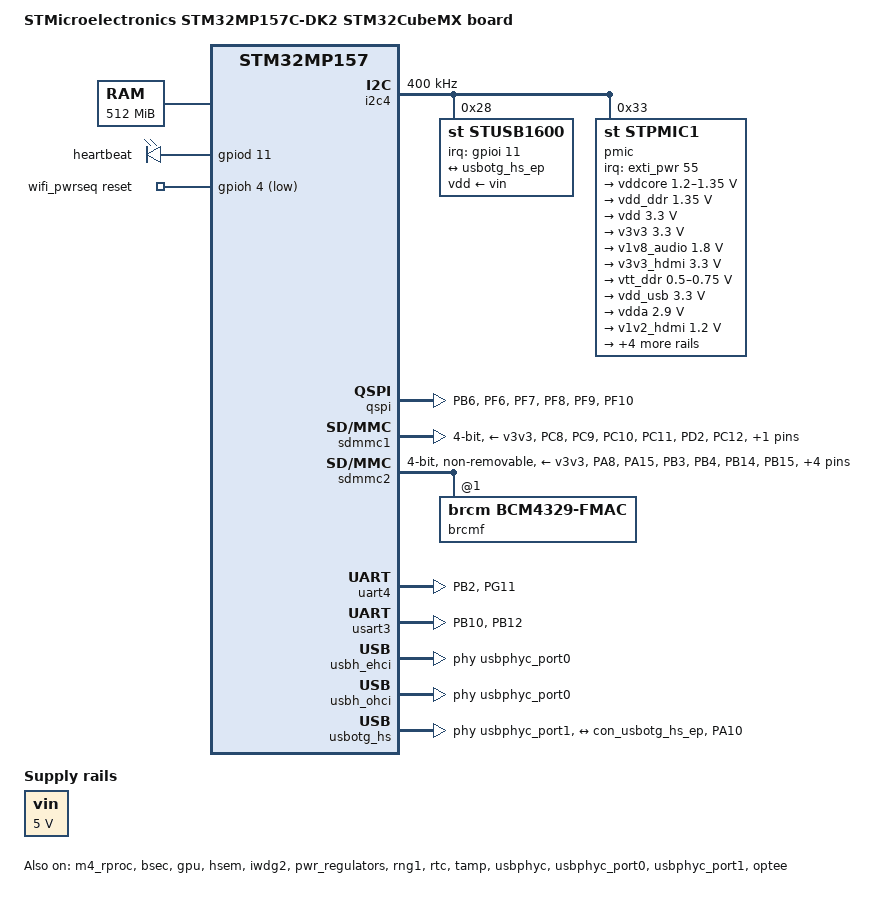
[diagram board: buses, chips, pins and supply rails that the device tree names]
/* SPDX-License-Identifier: (GPL-2.0+ OR BSD-3-Clause) */
/*
 * Copyright (C) STMicroelectronics 2020 - All Rights Reserved
 * Author: STM32CubeMX code generation for STMicroelectronics.
 */

/* For more information on Device Tree configuration, please refer to
 * https://wiki.st.com/stm32mpu/wiki/Category:Device_tree_configuration
 */

/dts-v1/;
#include <dt-bindings/pinctrl/stm32-pinfunc.h>

#include "stm32mp157.dtsi"
#include "stm32mp15xc.dtsi"
#include "stm32mp15xxac-pinctrl.dtsi"
#include "stm32mp157-m4-srm.dtsi"

/* USER CODE BEGIN includes */
#include <dt-bindings/mfd/st,stpmic1.h>
#include <dt-bindings/rtc/rtc-stm32.h>
/* USER CODE END includes */

/ {
	model = "STMicroelectronics STM32MP157C-DK2 STM32CubeMX board";
	compatible = "st,stm32mp157c-osd32mp1-fixedusb-mx", "st,stm32mp157";

	memory@c0000000 {
		device_type = "memory";
		reg = <0xc0000000 0x20000000>;

		/* USER CODE BEGIN memory */
		/* USER CODE END memory */
	};

	reserved-memory {
		#address-cells = <1>;
		#size-cells = <1>;
		ranges;

		/* USER CODE BEGIN reserved-memory */

		mcuram2:mcuram2@10000000{
			compatible = "shared-dma-pool";
			reg = <0x10000000 0x40000>;
			no-map;
		};

		vdev0vring0:vdev0vring0@10040000{
			compatible = "shared-dma-pool";
			reg = <0x10040000 0x1000>;
			no-map;
		};

		vdev0vring1:vdev0vring1@10041000{
			compatible = "shared-dma-pool";
			reg = <0x10041000 0x1000>;
			no-map;
		};

		vdev0buffer:vdev0buffer@10042000{
			compatible = "shared-dma-pool";
			reg = <0x10042000 0x4000>;
			no-map;
		};

		mcuram:mcuram@30000000{
			compatible = "shared-dma-pool";
			reg = <0x30000000 0x40000>;
			no-map;
		};

		retram:retram@38000000{
			compatible = "shared-dma-pool";
			reg = <0x38000000 0x10000>;
			no-map;
		};

		gpu_reserved:gpu@da000000{
			reg = <0xda000000 0x4000000>;
			no-map;
		};

		optee_memory:optee@0xde000000{
			reg = <0xde000000 0x02000000>;
			no-map;
			status = "okay";
		};
		/* USER CODE END reserved-memory */
	};

	/* USER CODE BEGIN root */

	led{
		compatible = "gpio-leds";

		blue{
			label = "heartbeat";
			gpios = <&gpiod 11 GPIO_ACTIVE_HIGH>;
			linux,default-trigger = "heartbeat";
			default-state = "off";
		};
	};

	sound{
		compatible = "audio-graph-card";
		label = "STM32MP1-DK";
		routing = "Playback", "MCLK",
				"Capture", "MCLK",
				"MICL", "Mic Bias";
		dais = <&sai2a_port &sai2b_port &i2s2_port>;
		status = "okay";
	};

	usb_phy_tuning:usb-phy-tuning{
		st,hs-dc-level = <2>;
		st,fs-rftime-tuning;
		st,hs-rftime-reduction;
		st,hs-current-trim = <15>;
		st,hs-impedance-trim = <1>;
		st,squelch-level = <3>;
		st,hs-rx-offset = <2>;
		st,no-lsfs-sc;
	};

	vin:vin{
		compatible = "regulator-fixed";
		regulator-name = "vin";
		regulator-min-microvolt = <5000000>;
		regulator-max-microvolt = <5000000>;
		regulator-always-on;
	};

	aliases{
		ethernet0 = &ethernet0;
		serial0 = &uart4;
		serial1 = &usart3;
		serial2 = &uart7;
		serial3 = &usart2;
	};

	chosen{
		stdout-path = "serial0:115200n8";
	};

	wifi_pwrseq:wifi-pwrseq{
		compatible = "mmc-pwrseq-simple";
		reset-gpios = <&gpioh 4 GPIO_ACTIVE_LOW>;
	};
	/* USER CODE END root */

	clocks {

		/* USER CODE BEGIN clocks */
		/* USER CODE END clocks */

#ifndef CONFIG_STM32MP1_TRUSTED
		clk_lsi: clk-lsi {
			clock-frequency = <32000>;
		};
		clk_hsi: clk-hsi {
			clock-frequency = <64000000>;
		};
		clk_csi: clk-csi {
			clock-frequency = <4000000>;
		};
		clk_lse: clk-lse {
			clock-frequency = <32768>;
		};
		clk_hse: clk-hse {
			clock-frequency = <24000000>;
		};
#endif	/*CONFIG_STM32MP1_TRUSTED*/
	};

}; /*root*/

&pinctrl {
	u-boot,dm-pre-reloc;

	quadspi_pins_mx: quadspi_mx-0 {
		u-boot,dm-pre-reloc;
		pins1 {
			u-boot,dm-pre-reloc;
			pinmux = <STM32_PINMUX('B', 6, AF10)>, /* QUADSPI_BK1_NCS */
					 <STM32_PINMUX('F', 6, AF9)>, /* QUADSPI_BK1_IO3 */
					 <STM32_PINMUX('F', 7, AF9)>, /* QUADSPI_BK1_IO2 */
					 <STM32_PINMUX('F', 8, AF10)>, /* QUADSPI_BK1_IO0 */
					 <STM32_PINMUX('F', 9, AF10)>; /* QUADSPI_BK1_IO1 */
			bias-disable;
			drive-push-pull;
			slew-rate = <1>;
		};
		pins2 {
			u-boot,dm-pre-reloc;
			pinmux = <STM32_PINMUX('F', 10, AF9)>; /* QUADSPI_CLK */
			bias-disable;
			drive-push-pull;
			slew-rate = <2>;
		};
	};

	quadspi_sleep_pins_mx: quadspi_sleep_mx-0 {
		u-boot,dm-pre-reloc;
		pins {
			u-boot,dm-pre-reloc;
			pinmux = <STM32_PINMUX('B', 6, ANALOG)>, /* QUADSPI_BK1_NCS */
					 <STM32_PINMUX('F', 6, ANALOG)>, /* QUADSPI_BK1_IO3 */
					 <STM32_PINMUX('F', 7, ANALOG)>, /* QUADSPI_BK1_IO2 */
					 <STM32_PINMUX('F', 8, ANALOG)>, /* QUADSPI_BK1_IO0 */
					 <STM32_PINMUX('F', 9, ANALOG)>, /* QUADSPI_BK1_IO1 */
					 <STM32_PINMUX('F', 10, ANALOG)>; /* QUADSPI_CLK */
		};
	};

	sdmmc1_pins_mx: sdmmc1_mx-0 {
		u-boot,dm-pre-reloc;
		pins1 {
			u-boot,dm-pre-reloc;
			pinmux = <STM32_PINMUX('C', 8, AF12)>, /* SDMMC1_D0 */
					 <STM32_PINMUX('C', 9, AF12)>, /* SDMMC1_D1 */
					 <STM32_PINMUX('C', 10, AF12)>, /* SDMMC1_D2 */
					 <STM32_PINMUX('C', 11, AF12)>, /* SDMMC1_D3 */
					 <STM32_PINMUX('D', 2, AF12)>; /* SDMMC1_CMD */
			bias-disable;
			drive-push-pull;
			slew-rate = <1>;
		};
		pins2 {
			u-boot,dm-pre-reloc;
			pinmux = <STM32_PINMUX('C', 12, AF12)>; /* SDMMC1_CK */
			bias-disable;
			drive-push-pull;
			slew-rate = <3>;
		};
	};

	sdmmc1_opendrain_pins_mx: sdmmc1_opendrain_mx-0 {
		u-boot,dm-pre-reloc;
		pins1 {
			u-boot,dm-pre-reloc;
			pinmux = <STM32_PINMUX('C', 8, AF12)>, /* SDMMC1_D0 */
					 <STM32_PINMUX('C', 9, AF12)>, /* SDMMC1_D1 */
					 <STM32_PINMUX('C', 10, AF12)>, /* SDMMC1_D2 */
					 <STM32_PINMUX('C', 11, AF12)>; /* SDMMC1_D3 */
			bias-disable;
			drive-push-pull;
			slew-rate = <1>;
		};
		pins2 {
			u-boot,dm-pre-reloc;
			pinmux = <STM32_PINMUX('C', 12, AF12)>; /* SDMMC1_CK */
			bias-disable;
			drive-push-pull;
			slew-rate = <3>;
		};
		pins3 {
			u-boot,dm-pre-reloc;
			pinmux = <STM32_PINMUX('D', 2, AF12)>; /* SDMMC1_CMD */
			bias-disable;
			drive-open-drain;
			slew-rate = <1>;
		};
	};

	sdmmc1_sleep_pins_mx: sdmmc1_sleep_mx-0 {
		u-boot,dm-pre-reloc;
		pins {
			u-boot,dm-pre-reloc;
			pinmux = <STM32_PINMUX('C', 8, ANALOG)>, /* SDMMC1_D0 */
					 <STM32_PINMUX('C', 9, ANALOG)>, /* SDMMC1_D1 */
					 <STM32_PINMUX('C', 10, ANALOG)>, /* SDMMC1_D2 */
					 <STM32_PINMUX('C', 11, ANALOG)>, /* SDMMC1_D3 */
					 <STM32_PINMUX('C', 12, ANALOG)>, /* SDMMC1_CK */
					 <STM32_PINMUX('D', 2, ANALOG)>; /* SDMMC1_CMD */
		};
	};

	sdmmc2_pins_mx: sdmmc2_mx-0 {
		u-boot,dm-pre-reloc;
		pins1 {
			u-boot,dm-pre-reloc;
			pinmux = <STM32_PINMUX('A', 8, AF9)>, /* SDMMC2_D4 */
					 <STM32_PINMUX('A', 15, AF9)>, /* SDMMC2_D5 */
					 <STM32_PINMUX('B', 3, AF9)>, /* SDMMC2_D2 */
					 <STM32_PINMUX('B', 4, AF9)>, /* SDMMC2_D3 */
					 <STM32_PINMUX('B', 14, AF9)>, /* SDMMC2_D0 */
					 <STM32_PINMUX('B', 15, AF9)>, /* SDMMC2_D1 */
					 <STM32_PINMUX('C', 6, AF10)>, /* SDMMC2_D6 */
					 <STM32_PINMUX('C', 7, AF10)>, /* SDMMC2_D7 */
					 <STM32_PINMUX('G', 6, AF10)>; /* SDMMC2_CMD */
			bias-disable;
			drive-push-pull;
			slew-rate = <1>;
		};
		pins2 {
			u-boot,dm-pre-reloc;
			pinmux = <STM32_PINMUX('E', 3, AF9)>; /* SDMMC2_CK */
			bias-disable;
			drive-push-pull;
			slew-rate = <3>;
		};
	};

	sdmmc2_opendrain_pins_mx: sdmmc2_opendrain_mx-0 {
		u-boot,dm-pre-reloc;
		pins1 {
			u-boot,dm-pre-reloc;
			pinmux = <STM32_PINMUX('A', 8, AF9)>, /* SDMMC2_D4 */
					 <STM32_PINMUX('A', 15, AF9)>, /* SDMMC2_D5 */
					 <STM32_PINMUX('B', 3, AF9)>, /* SDMMC2_D2 */
					 <STM32_PINMUX('B', 4, AF9)>, /* SDMMC2_D3 */
					 <STM32_PINMUX('B', 14, AF9)>, /* SDMMC2_D0 */
					 <STM32_PINMUX('B', 15, AF9)>, /* SDMMC2_D1 */
					 <STM32_PINMUX('C', 6, AF10)>, /* SDMMC2_D6 */
					 <STM32_PINMUX('C', 7, AF10)>; /* SDMMC2_D7 */
			bias-disable;
			drive-push-pull;
			slew-rate = <1>;
		};
		pins2 {
			u-boot,dm-pre-reloc;
			pinmux = <STM32_PINMUX('E', 3, AF9)>; /* SDMMC2_CK */
			bias-disable;
			drive-push-pull;
			slew-rate = <3>;
		};
		pins3 {
			u-boot,dm-pre-reloc;
			pinmux = <STM32_PINMUX('G', 6, AF10)>; /* SDMMC2_CMD */
			bias-disable;
			drive-open-drain;
			slew-rate = <1>;
		};
	};

	sdmmc2_sleep_pins_mx: sdmmc2_sleep_mx-0 {
		u-boot,dm-pre-reloc;
		pins {
			u-boot,dm-pre-reloc;
			pinmux = <STM32_PINMUX('A', 8, ANALOG)>, /* SDMMC2_D4 */
					 <STM32_PINMUX('A', 15, ANALOG)>, /* SDMMC2_D5 */
					 <STM32_PINMUX('B', 3, ANALOG)>, /* SDMMC2_D2 */
					 <STM32_PINMUX('B', 4, ANALOG)>, /* SDMMC2_D3 */
					 <STM32_PINMUX('B', 14, ANALOG)>, /* SDMMC2_D0 */
					 <STM32_PINMUX('B', 15, ANALOG)>, /* SDMMC2_D1 */
					 <STM32_PINMUX('C', 6, ANALOG)>, /* SDMMC2_D6 */
					 <STM32_PINMUX('C', 7, ANALOG)>, /* SDMMC2_D7 */
					 <STM32_PINMUX('E', 3, ANALOG)>, /* SDMMC2_CK */
					 <STM32_PINMUX('G', 6, ANALOG)>; /* SDMMC2_CMD */
		};
	};

	uart4_pins_mx: uart4_mx-0 {
		u-boot,dm-pre-reloc;
		pins1 {
			u-boot,dm-pre-reloc;
			pinmux = <STM32_PINMUX('B', 2, AF8)>; /* UART4_RX */
			bias-disable;
		};
		pins2 {
			u-boot,dm-pre-reloc;
			pinmux = <STM32_PINMUX('G', 11, AF6)>; /* UART4_TX */
			bias-disable;
			drive-push-pull;
			slew-rate = <0>;
		};
	};

	uart4_sleep_pins_mx: uart4_sleep_mx-0 {
		u-boot,dm-pre-reloc;
		pins {
			u-boot,dm-pre-reloc;
			pinmux = <STM32_PINMUX('B', 2, ANALOG)>, /* UART4_RX */
					 <STM32_PINMUX('G', 11, ANALOG)>; /* UART4_TX */
		};
	};

	usart3_pins_mx: usart3_mx-0 {
		u-boot,dm-pre-reloc;
		pins1 {
			u-boot,dm-pre-reloc;
			pinmux = <STM32_PINMUX('B', 10, AF7)>; /* USART3_TX */
			bias-disable;
			drive-push-pull;
			slew-rate = <0>;
		};
		pins2 {
			u-boot,dm-pre-reloc;
			pinmux = <STM32_PINMUX('B', 12, AF8)>; /* USART3_RX */
			bias-disable;
		};
	};

	usart3_sleep_pins_mx: usart3_sleep_mx-0 {
		u-boot,dm-pre-reloc;
		pins {
			u-boot,dm-pre-reloc;
			pinmux = <STM32_PINMUX('B', 10, ANALOG)>, /* USART3_TX */
					 <STM32_PINMUX('B', 12, ANALOG)>; /* USART3_RX */
		};
	};

	usb_otg_hs_pins_mx: usb_otg_hs_mx-0 {
		u-boot,dm-pre-reloc;
		pins {
			u-boot,dm-pre-reloc;
			pinmux = <STM32_PINMUX('A', 10, ANALOG)>; /* USB_OTG_HS_ID */
		};
	};

	usb_otg_hs_sleep_pins_mx: usb_otg_hs_sleep_mx-0 {
		u-boot,dm-pre-reloc;
		pins {
			u-boot,dm-pre-reloc;
			pinmux = <STM32_PINMUX('A', 10, ANALOG)>; /* USB_OTG_HS_ID */
		};
	};

	/* USER CODE BEGIN pinctrl */
	stusb1600_pins_a: stusb1600-0 {
		pins {
			pinmux = <STM32_PINMUX('I', 11, ANALOG)>;
			bias-pull-up;
		};
	};
	/* USER CODE END pinctrl */
};

&pinctrl_z {
	u-boot,dm-pre-reloc;

	i2c4_pins_z_mx: i2c4_mx-0 {
		u-boot,dm-pre-reloc;
		pins {
			u-boot,dm-pre-reloc;
			pinmux = <STM32_PINMUX('Z', 4, AF6)>, /* I2C4_SCL */
					 <STM32_PINMUX('Z', 5, AF6)>; /* I2C4_SDA */
			bias-disable;
			drive-open-drain;
			slew-rate = <0>;
		};
	};

	i2c4_sleep_pins_z_mx: i2c4_sleep_mx-0 {
		u-boot,dm-pre-reloc;
		pins {
			u-boot,dm-pre-reloc;
			pinmux = <STM32_PINMUX('Z', 4, ANALOG)>, /* I2C4_SCL */
					 <STM32_PINMUX('Z', 5, ANALOG)>; /* I2C4_SDA */
		};
	};

	/* USER CODE BEGIN pinctrl_z */
	/* USER CODE END pinctrl_z */
};

&m4_rproc{
	/*Restriction: "memory-region" property is not managed - please to use User-Section if needed*/
	mboxes = <&ipcc 2>;
	mbox-names = "shutdown";
	status = "okay";

	/* USER CODE BEGIN m4_rproc */
	memory-region = <&retram>, <&mcuram>, <&mcuram2>, <&vdev0vring0>,
			<&vdev0vring1>, <&vdev0buffer>;
	interrupt-parent = <&exti>;
	interrupts = <68 1>;
	wakeup-source;
	/* USER CODE END m4_rproc */

	m4_system_resources{
		status = "okay";

		/* USER CODE BEGIN m4_system_resources */
		/* USER CODE END m4_system_resources */
	};
};

&bsec{
	status = "okay";

	/* USER CODE BEGIN bsec */
	/* USER CODE END bsec */
};

&dma1{
	status = "okay";

	/* USER CODE BEGIN dma1 */
	sram = <&dma_pool>;
	/* USER CODE END dma1 */
};

&dma2{
	status = "disabled";

	/* USER CODE BEGIN dma2 */
	sram = <&dma_pool>;
	/* USER CODE END dma2 */
};

&dmamux1{

	dma-masters = <&dma1>;
	dma-channels = <8>;

	status = "okay";

	/* USER CODE BEGIN dmamux1 */
	/* USER CODE END dmamux1 */
};

&gpu{
	status = "okay";

	/* USER CODE BEGIN gpu */
	contiguous-area = <&gpu_reserved>;
	/* USER CODE END gpu */
};

&hsem{
	status = "okay";

	/* USER CODE BEGIN hsem */
	/* USER CODE END hsem */
};

&i2c4{
	u-boot,dm-pre-reloc;
	pinctrl-names = "default", "sleep";
	pinctrl-0 = <&i2c4_pins_z_mx>;
	pinctrl-1 = <&i2c4_sleep_pins_z_mx>;
	status = "okay";

	/* USER CODE BEGIN i2c4 */
	i2c-scl-rising-time-ns = <185>;
	i2c-scl-falling-time-ns = <20>;
	clock-frequency = <400000>;
	/delete-property/ dmas;
	/delete-property/ dma-names;

	stusb1600@28{
		compatible = "st,stusb1600";
		reg = <0x28>;
		interrupts = <11 IRQ_TYPE_EDGE_FALLING>;
		interrupt-parent = <&gpioi>;
		pinctrl-names = "default";
		pinctrl-0 = <&stusb1600_pins_a>;
		status = "okay";
		vdd-supply = <&vin>;

		connector{
			compatible = "usb-c-connector";
			label = "USB-C";
			power-role = "dual";
			power-opmode = "default";

			port{

				con_usbotg_hs_ep:endpoint{
					remote-endpoint = <&usbotg_hs_ep>;
				};
			};
		};
	};

	pmic:stpmic@33{
		compatible = "st,stpmic1";
		reg = <0x33>;
		interrupts-extended = <&exti_pwr 55 IRQ_TYPE_EDGE_FALLING>;
		interrupt-controller;
		#interrupt-cells = <2>;
		status = "okay";

		regulators{
			compatible = "st,stpmic1-regulators";
			buck1-supply = <&vin>;
			buck2-supply = <&vin>;
			buck3-supply = <&vin>;
			buck4-supply = <&vin>;
			ldo1-supply = <&v3v3>;
			ldo2-supply = <&vin>;
			ldo3-supply = <&vdd_ddr>;
			ldo4-supply = <&vin>;
			ldo5-supply = <&vin>;
			ldo6-supply = <&v3v3>;
			vref_ddr-supply = <&vin>;
			boost-supply = <&vin>;
			pwr_sw1-supply = <&bst_out>;
			pwr_sw2-supply = <&bst_out>;

			vddcore:buck1{
				regulator-name = "vddcore";
				regulator-min-microvolt = <1200000>;
				regulator-max-microvolt = <1350000>;
				regulator-always-on;
				regulator-initial-mode = <0>;
				regulator-over-current-protection;
			};

			vdd_ddr:buck2{
				regulator-name = "vdd_ddr";
				regulator-min-microvolt = <1350000>;
				regulator-max-microvolt = <1350000>;
				regulator-always-on;
				regulator-initial-mode = <0>;
				regulator-over-current-protection;
			};

			vdd:buck3{
				regulator-name = "vdd";
				regulator-min-microvolt = <3300000>;
				regulator-max-microvolt = <3300000>;
				regulator-always-on;
				st,mask-reset;
				regulator-initial-mode = <0>;
				regulator-over-current-protection;
			};

			v3v3:buck4{
				regulator-name = "v3v3";
				regulator-min-microvolt = <3300000>;
				regulator-max-microvolt = <3300000>;
				regulator-always-on;
				regulator-over-current-protection;
				regulator-initial-mode = <0>;
			};

			v1v8_audio:ldo1{
				regulator-name = "v1v8_audio";
				regulator-min-microvolt = <1800000>;
				regulator-max-microvolt = <1800000>;
				regulator-always-on;
				interrupts = <IT_CURLIM_LDO1 0>;
			};

			v3v3_hdmi:ldo2{
				regulator-name = "v3v3_hdmi";
				regulator-min-microvolt = <3300000>;
				regulator-max-microvolt = <3300000>;
				regulator-always-on;
				interrupts = <IT_CURLIM_LDO2 0>;
			};

			vtt_ddr:ldo3{
				regulator-name = "vtt_ddr";
				regulator-min-microvolt = <500000>;
				regulator-max-microvolt = <750000>;
				regulator-always-on;
				regulator-over-current-protection;
			};

			vdd_usb:ldo4{
				regulator-name = "vdd_usb";
				regulator-min-microvolt = <3300000>;
				regulator-max-microvolt = <3300000>;
				interrupts = <IT_CURLIM_LDO4 0>;
				regulator-always-on;
			};

			vdda:ldo5{
				regulator-name = "vdda";
				regulator-min-microvolt = <2900000>;
				regulator-max-microvolt = <2900000>;
				interrupts = <IT_CURLIM_LDO5 0>;
				regulator-boot-on;
			};

			v1v2_hdmi:ldo6{
				regulator-name = "v1v2_hdmi";
				regulator-min-microvolt = <1200000>;
				regulator-max-microvolt = <1200000>;
				regulator-always-on;
				interrupts = <IT_CURLIM_LDO6 0>;
			};

			vref_ddr:vref_ddr{
				regulator-name = "vref_ddr";
				regulator-always-on;
				regulator-over-current-protection;
			};

			bst_out:boost{
				regulator-name = "bst_out";
				interrupts = <IT_OCP_BOOST 0>;
			};

			vbus_otg:pwr_sw1{
				regulator-name = "vbus_otg";
				interrupts = <IT_OCP_OTG 0>;
			};

			vbus_sw:pwr_sw2{
				regulator-name = "vbus_sw";
				interrupts = <IT_OCP_SWOUT 0>;
				regulator-active-discharge = <1>;
			};
		};

		onkey{
			compatible = "st,stpmic1-onkey";
			interrupts = <IT_PONKEY_F 0>, <IT_PONKEY_R 0>;
			interrupt-names = "onkey-falling", "onkey-rising";
			power-off-time-sec = <10>;
			status = "okay";
		};

		watchdog {
			compatible = "st,stpmic1-wdt";
			status = "disabled";
		};
	};
	/* USER CODE END i2c4 */
};

&ipcc{
	status = "okay";

	/* USER CODE BEGIN ipcc */
	/* USER CODE END ipcc */
};

&iwdg2{
	status = "okay";

	/* USER CODE BEGIN iwdg2 */
	timeout-sec = <32>;
	/* USER CODE END iwdg2 */
};

&m4_dma2{
	status = "okay";

	/* USER CODE BEGIN m4_dma2 */
	/* USER CODE END m4_dma2 */
};

&mdma1{
	status = "okay";

	/* USER CODE BEGIN mdma1 */
	/* USER CODE END mdma1 */
};

&pwr_regulators{
	status = "okay";

	/* USER CODE BEGIN pwr_regulators */
	vdd-supply = <&vdd>;
	vdd_3v3_usbfs-supply = <&vdd_usb>;
	/* USER CODE END pwr_regulators */
};

&qspi{
	u-boot,dm-pre-reloc;
	pinctrl-names = "default", "sleep";
	pinctrl-0 = <&quadspi_pins_mx>;
	pinctrl-1 = <&quadspi_sleep_pins_mx>;
	status = "okay";

	/* USER CODE BEGIN qspi */
	/* USER CODE END qspi */
};

&rcc{
	u-boot,dm-pre-reloc;
	status = "okay";

	/* USER CODE BEGIN rcc */
	/* USER CODE END rcc */
};

&rng1{
	status = "okay";

	/* USER CODE BEGIN rng1 */
	/* USER CODE END rng1 */
};

&rtc{
	status = "okay";

	/* USER CODE BEGIN rtc */
	st,lsco = <RTC_OUT2_RMP>;
	/* USER CODE END rtc */
};

&sdmmc1{
	u-boot,dm-pre-reloc;
	pinctrl-names = "default", "opendrain", "sleep";
	pinctrl-0 = <&sdmmc1_pins_mx>;
	pinctrl-1 = <&sdmmc1_opendrain_pins_mx>;
	pinctrl-2 = <&sdmmc1_sleep_pins_mx>;
	status = "okay";

	/* USER CODE BEGIN sdmmc1 */
	cd-gpios = <&gpiob 7 (GPIO_ACTIVE_LOW | GPIO_PULL_UP)>;
	disable-wp;
	st,neg-edge;
	bus-width = <4>;
	vmmc-supply = <&v3v3>;
	/* USER CODE END sdmmc1 */
};

&sdmmc2{
	u-boot,dm-pre-reloc;
	pinctrl-names = "default", "opendrain", "sleep";
	pinctrl-0 = <&sdmmc2_pins_mx>;
	pinctrl-1 = <&sdmmc2_opendrain_pins_mx>;
	pinctrl-2 = <&sdmmc2_sleep_pins_mx>;
	status = "okay";

	/* USER CODE BEGIN sdmmc2 */
	arm,primecell-periphid = <0x10153180>;
	non-removable;
	st,neg-edge;
	bus-width = <4>;
	vmmc-supply = <&v3v3>;
	mmc-pwrseq = <&wifi_pwrseq>;
	#address-cells = <1>;
	#size-cells = <0>;

	brcmf:bcrmf@1{
		reg = <1>;
		compatible = "brcm,bcm4329-fmac";
	};
	/* USER CODE END sdmmc2 */
};

&tamp{
	status = "okay";

	/* USER CODE BEGIN tamp */
	/* USER CODE END tamp */
};

&uart4{
	u-boot,dm-pre-reloc;
	pinctrl-names = "default", "sleep";
	pinctrl-0 = <&uart4_pins_mx>;
	pinctrl-1 = <&uart4_sleep_pins_mx>;
	status = "okay";

	/* USER CODE BEGIN uart4 */
	/delete-property/ dmas;
	/delete-property/ dma-names;
	/* USER CODE END uart4 */
};

&usart3{
	u-boot,dm-pre-reloc;
	pinctrl-names = "default", "sleep";
	pinctrl-0 = <&usart3_pins_mx>;
	pinctrl-1 = <&usart3_sleep_pins_mx>;
	status = "okay";

	/* USER CODE BEGIN usart3 */
	/* USER CODE END usart3 */
};

&usbh_ehci{
	status = "okay";

	/* USER CODE BEGIN usbh_ehci */
	phys = <&usbphyc_port0>;
	/* USER CODE END usbh_ehci */
};

&usbh_ohci{
	status = "okay";

	/* USER CODE BEGIN usbh_ohci */
	/* USER CODE END usbh_ohci */
};

&usbotg_hs{
	u-boot,dm-pre-reloc;
	pinctrl-names = "default", "sleep";
	pinctrl-0 = <&usb_otg_hs_pins_mx>;
	pinctrl-1 = <&usb_otg_hs_sleep_pins_mx>;
	status = "okay";

	/* USER CODE BEGIN usbotg_hs */
	phys = <&usbphyc_port1 0>;
	phy-names = "usb2-phy";
	usb-role-switch;

	port{

		usbotg_hs_ep:endpoint{
			remote-endpoint = <&con_usbotg_hs_ep>;
		};
	};
	/* USER CODE END usbotg_hs */
};

&usbphyc{
	u-boot,dm-pre-reloc;
	status = "okay";

	/* USER CODE BEGIN usbphyc */
	/* USER CODE END usbphyc */
};

&usbphyc_port0{
	u-boot,dm-pre-reloc;
	status = "okay";

	/* USER CODE BEGIN usbphyc_port0 */
	phy-supply = <&vdd_usb>;
	st,phy-tuning = <&usb_phy_tuning>;
	/* USER CODE END usbphyc_port0 */
};

&usbphyc_port1{
	u-boot,dm-pre-reloc;
	status = "okay";

	/* USER CODE BEGIN usbphyc_port1 */
	phy-supply = <&vdd_usb>;
	st,phy-tuning = <&usb_phy_tuning>;
	/* USER CODE END usbphyc_port1 */
};

/* USER CODE BEGIN addons */
&adc {
	status = "disabled";
};

&usbh_ohci{
	phys = <&usbphyc_port0>;
};

&cpu0{
	cpu-supply = <&vddcore>;
};

&cpu1{
	cpu-supply = <&vddcore>;
};

&sram{

	dma_pool:dma_pool@0{
		reg = <0x50000 0x10000>;
		pool;
	};
};

&optee{
	status = "okay";
};
/* USER CODE END addons */

